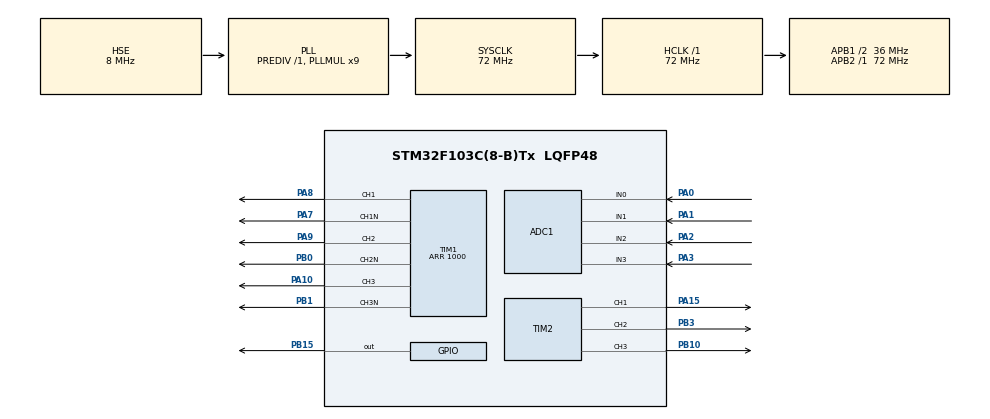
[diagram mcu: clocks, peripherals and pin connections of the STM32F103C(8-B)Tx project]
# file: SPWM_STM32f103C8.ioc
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Mcu.Family=STM32F1
TIM2.Channel-Output\ Compare1\ CH1=TIM_CHANNEL_1
ADC1.ContinuousConvMode=ENABLE
TIM1.Pulse-PWM\ Generation1\ CH1\ CH1N=500
SH.ADCx_IN2.0=ADC1_IN2,IN2
PB15.Signal=GPIO_Output
RCC.SYSCLKSource=RCC_SYSCLKSOURCE_PLLCLK
ProjectManager.StackSize=0x400
PD1-OSC_OUT.Signal=RCC_OSC_OUT
ADC1.Channel-3\#ChannelRegularConversion=ADC_CHANNEL_3
RCC.HCLKFreq_Value=72000000
SH.ADCx_IN3.0=ADC1_IN3,IN3
RCC.APB2TimFreq_Value=72000000
TIM3.Period=360
Dma.ADC1.0.Direction=DMA_PERIPH_TO_MEMORY
ADC1.Channel-2\#ChannelRegularConversion=ADC_CHANNEL_2
TIM1.AutomaticOutput=TIM_AUTOMATICOUTPUT_ENABLE
Dma.ADC1.0.MemDataAlignment=DMA_MDATAALIGN_HALFWORD
RCC.AHBFreq_Value=72000000
ADC1.Channel-0\#ChannelRegularConversion=ADC_CHANNEL_0
RCC.PLLMUL=RCC_PLL_MUL9
ADC1.Rank-2\#ChannelRegularConversion=3
PA14.Mode=Serial_Wire
Dma.ADC1.0.PeriphInc=DMA_PINC_DISABLE
TIM1.DeadTime=200
PA8.Signal=S_TIM1_CH1
SH.ADCx_IN0.0=ADC1_IN0,IN0
VP_TIM1_VS_ClockSourceINT.Mode=Internal
ADC1.SamplingTime-0\#ChannelRegularConversion=ADC_SAMPLETIME_28CYCLES_5
Mcu.Package=LQFP48
TIM2.Channel-Output\ Compare2\ CH2=TIM_CHANNEL_2
PB1.Signal=TIM1_CH3N
PA10.Signal=S_TIM1_CH3
PA15.Signal=S_TIM2_CH1_ETR
SH.ADCx_IN1.0=ADC1_IN1,IN1
RCC.APB1TimFreq_Value=72000000
TIM1.Period=1000
Dma.Request0=ADC1
VP_TIM3_VS_ClockSourceINT.Mode=Internal
PA3.Signal=ADCx_IN3
RCC.PLLSourceVirtual=RCC_PLLSOURCE_HSE
Dma.ADC1.0.Instance=DMA1_Channel1
ADC1.Rank-0\#ChannelRegularConversion=1
TIM1.OffStateIDLEMode=TIM_OSSI_ENABLE
PA7.Mode=PWM Generation1 CH1 CH1N
PD1-OSC_OUT.Mode=HSE-External-Oscillator
TIM3.AutoReloadPreload=TIM_AUTORELOAD_PRELOAD_ENABLE
TIM1.CounterMode=TIM_COUNTERMODE_CENTERALIGNED1
ADC1.DiscontinuousConvMode=DISABLE
TIM2.Channel-Output\ Compare3\ CH3=TIM_CHANNEL_3
TIM1.Channel-PWM\ Generation1\ CH1\ CH1N=TIM_CHANNEL_1
PD0-OSC_IN.Signal=RCC_OSC_IN
RCC.APB1CLKDivider=RCC_HCLK_DIV2
ADC1.SamplingTime-2\#ChannelRegularConversion=ADC_SAMPLETIME_28CYCLES_5
PA0-WKUP.Signal=ADCx_IN0
RCC.ADCPresc=RCC_ADCPCLK2_DIV6
PA13.Signal=SYS_JTMS-SWDIO
TIM1.AutoReloadPreload=TIM_AUTORELOAD_PRELOAD_ENABLE
TIM1.Channel-PWM\ Generation2\ CH2\ CH2N=TIM_CHANNEL_2
SH.S_TIM2_CH2.0=TIM2_CH2,Output Compare2 CH2
Dma.ADC1.0.PeriphDataAlignment=DMA_PDATAALIGN_HALFWORD
SH.S_TIM1_CH1.0=TIM1_CH1,PWM Generation1 CH1 CH1N
ProjectManager.TargetToolchain=MDK-ARM V5.27
Dma.ADC1.0.Mode=DMA_CIRCULAR
Dma.ADC1.0.Priority=DMA_PRIORITY_LOW
PA9.Signal=S_TIM1_CH2
ADC1.Channel-1\#ChannelRegularConversion=ADC_CHANNEL_1
TIM1.Channel-PWM\ Generation3\ CH3\ CH3N=TIM_CHANNEL_3
RCC.USBFreq_Value=72000000
PA1.Signal=ADCx_IN1
PD0-OSC_IN.Mode=HSE-External-Oscillator
PB10.Signal=S_TIM2_CH3
PB0.Mode=PWM Generation2 CH2 CH2N
board=custom
NVIC.TIM3_IRQn=true\:0\:0\:false\:false\:true\:true\:true
RCC.APB2Freq_Value=72000000
SH.S_TIM1_CH2.0=TIM1_CH2,PWM Generation2 CH2 CH2N
VP_TIM2_VS_ClockSourceINT.Mode=Internal
SH.S_TIM2_CH3.0=TIM2_CH3,Output Compare3 CH3
TIM1.OffStateRunMode=TIM_OSSR_ENABLE
ADC1.NbrOfConversion=4
PA13.Mode=Serial_Wire
Mcu.Name=STM32F103C(8-B)Tx
PA2.Signal=ADCx_IN2
PB3.Signal=S_TIM2_CH2
ADC1.SamplingTime-1\#ChannelRegularConversion=ADC_SAMPLETIME_28CYCLES_5
RCC.SYSCLKFreq_VALUE=72000000
ADC1.master=1
ADC1.Rank-3\#ChannelRegularConversion=4
ADC1.SamplingTime-3\#ChannelRegularConversion=ADC_SAMPLETIME_28CYCLES_5
ADC1.Rank-1\#ChannelRegularConversion=2
SH.S_TIM2_CH1_ETR.0=TIM2_CH1,Output Compare1 CH1
PA14.Signal=SYS_JTCK-SWCLK
Dma.ADC1.0.MemInc=DMA_MINC_ENABLE
ProjectManager.HeapSize=0x200
PB1.Mode=PWM Generation3 CH3 CH3N
SH.S_TIM1_CH3.0=TIM1_CH3,PWM Generation3 CH3 CH3N
NVIC.PriorityGroup=NVIC_PRIORITYGROUP_4
ADC1.NbrOfConversionFlag=1
NVIC.DMA1_Channel1_IRQn=true\:0\:0\:false\:false\:true\:false\:true
RCC.APB1Freq_Value=36000000
PB0.Signal=TIM1_CH2N
PA7.Signal=TIM1_CH1N

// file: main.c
/* USER CODE BEGIN Header */
/**
  ******************************************************************************
  * @file           : main.c
  * @brief          : Main program body
  ******************************************************************************
  * @attention
  *
  * <h2><center>&copy; Copyright (c) 2021 STMicroelectronics.
  * All rights reserved.</center></h2>
  *
  * This software component is licensed by ST under BSD 3-Clause license,
  * the "License"; You may not use this file except in compliance with the
  * License. You may obtain a copy of the License at:
  *                        opensource.org/licenses/BSD-3-Clause
  *
  ******************************************************************************
  */
/* USER CODE END Header */

#include "main.h"

/* USER CODE BEGIN Includes */
#include <math.h>

/* USER CODE END Includes */

/* USER CODE BEGIN PD */
#define PI 3.14159265

/* USER CODE END PD */

/* USER CODE BEGIN PM */
float map(float x, float in_min, float in_max, float out_min, float out_max)
{
	return (x - in_min) * (out_max - out_min) / (in_max - in_min) + out_min;
}

/* USER CODE END PM */

ADC_HandleTypeDef hadc1;
DMA_HandleTypeDef hdma_adc1;

TIM_HandleTypeDef htim1;
TIM_HandleTypeDef htim2;
TIM_HandleTypeDef htim3;

/* USER CODE BEGIN PV */
uint16_t lookUp1[] = {1800, 1939, 2078, 2215, 2349, 2480, 2607, 2730, 2846, 2957, 3060, 3156, 3243, 3322, 3392, 3452, 3503, 3543, 3572, 3591, 3599, 3596, 3583, 3559, 3524, 3479, 3423, 3358, 3284, 3201, 3109, 3009, 2902, 2789, 2669, 2544, 2415, 2282, 2146, 2008, 1869, 1730, 1591, 1453, 1317, 1184, 1055, 930, 810, 697, 590, 490, 398, 315, 241, 176, 120, 75, 40, 16, 3, 0, 8, 27, 56, 96, 147, 207, 277, 356, 443, 539, 642, 753, 869, 992, 1119, 1250, 1384, 1521, 1660};

float freq;
float amplitude;

uint16_t SINE_counter_A=0;
uint16_t SINE_counter_B=27;
uint16_t SINE_counter_C=54;

uint16_t ADC_VALs[4];
double result;

uint16_t period = 0;

/* USER CODE END PV */

void SystemClock_Config(void);
static void MX_GPIO_Init(void);
static void MX_DMA_Init(void);
static void MX_ADC1_Init(void);
static void MX_TIM1_Init(void);
static void MX_TIM2_Init(void);
static void MX_TIM3_Init(void);

/* USER CODE BEGIN 0 */
/*
void SPWM( void ){

			//freq = 25;
			freq =  map(ADC_VALs[0],1,4048,1,80);
			amplitude = map(freq,1,50,.05,1);
			if (amplitude >= .99) amplitude=.99;

   		period = (uint16_t)((72e6/600)/freq);
			TIM3->ARR = period - 1;

			SINE_counter_A++;
			SINE_counter_B++;
			SINE_counter_C++;

			result = lookUp1[SINE_counter_A];
			__HAL_TIM_SET_COMPARE(&htim1, TIM_CHANNEL_1,(uint16_t)result*amplitude);

			result = lookUp1[SINE_counter_B];
			__HAL_TIM_SET_COMPARE(&htim1, TIM_CHANNEL_2,(uint16_t)result*amplitude);

			result = lookUp1[SINE_counter_C];
			__HAL_TIM_SET_COMPARE(&htim1, TIM_CHANNEL_3,(uint16_t)result*amplitude);

			if (SINE_counter_A >= 600) { SINE_counter_A=0; }
			if (SINE_counter_B >= 600) { SINE_counter_B=0; }
			if (SINE_counter_C >= 600) { SINE_counter_C=0; }
}
*/
/* USER CODE END 0 */

int main(void)
{

  /* MCU Configuration--------------------------------------------------------*/

  /* Reset of all peripherals, Initializes the Flash interface and the Systick. */
  HAL_Init();

  /* Configure the system clock */
  SystemClock_Config();

  /* Initialize all configured peripherals */
  MX_GPIO_Init();
  MX_DMA_Init();
  MX_ADC1_Init();
  MX_TIM1_Init();
  MX_TIM2_Init();
  MX_TIM3_Init();
  /* USER CODE BEGIN 2 */
	// Analog DMA settings
	HAL_ADC_Start_DMA(&hadc1,( uint32_t *)ADC_VALs,4);

	// PWM settings
	HAL_TIM_PWM_Start(&htim1, TIM_CHANNEL_1);
	HAL_TIM_PWM_Start(&htim1, TIM_CHANNEL_2);
	HAL_TIM_PWM_Start(&htim1, TIM_CHANNEL_3);
	HAL_TIMEx_PWMN_Start(&htim1, TIM_CHANNEL_1); // turn on complementary channel
	HAL_TIMEx_PWMN_Start(&htim1, TIM_CHANNEL_2); // turn on complementary channel
	HAL_TIMEx_PWMN_Start(&htim1, TIM_CHANNEL_3); // turn on complementary channel

	__HAL_TIM_SET_COMPARE(&htim1, TIM_CHANNEL_1,(uint16_t)0);
	__HAL_TIM_SET_COMPARE(&htim1, TIM_CHANNEL_2,(uint16_t)0);
	__HAL_TIM_SET_COMPARE(&htim1, TIM_CHANNEL_3,(uint16_t)0);

  HAL_TIM_Base_Start_IT(&htim3);

  /* USER CODE END 2 */

  /* Infinite loop */
  while (1)
  {

    /* USER CODE BEGIN 3 */
			//amplitude = map(freq,1,50,.05,1);
			//if (amplitude >= .99) amplitude=.99;

				if (freq <= 50 ) { amplitude = map(freq,1,50,.05,1); }
				else{ amplitude = 1; }

  }
  /* USER CODE END 3 */
}

void SystemClock_Config(void)
{
  RCC_OscInitTypeDef RCC_OscInitStruct = {0};
  RCC_ClkInitTypeDef RCC_ClkInitStruct = {0};
  RCC_PeriphCLKInitTypeDef PeriphClkInit = {0};

  /** Initializes the CPU, AHB and APB busses clocks
  */
  RCC_OscInitStruct.OscillatorType = RCC_OSCILLATORTYPE_HSE;
  RCC_OscInitStruct.HSEState = RCC_HSE_ON;
  RCC_OscInitStruct.HSEPredivValue = RCC_HSE_PREDIV_DIV1;
  RCC_OscInitStruct.HSIState = RCC_HSI_ON;
  RCC_OscInitStruct.PLL.PLLState = RCC_PLL_ON;
  RCC_OscInitStruct.PLL.PLLSource = RCC_PLLSOURCE_HSE;
  RCC_OscInitStruct.PLL.PLLMUL = RCC_PLL_MUL9;
  if (HAL_RCC_OscConfig(&RCC_OscInitStruct) != HAL_OK)
  {
    Error_Handler();
  }
  /** Initializes the CPU, AHB and APB busses clocks
  */
  RCC_ClkInitStruct.ClockType = RCC_CLOCKTYPE_HCLK|RCC_CLOCKTYPE_SYSCLK
                              |RCC_CLOCKTYPE_PCLK1|RCC_CLOCKTYPE_PCLK2;
  RCC_ClkInitStruct.SYSCLKSource = RCC_SYSCLKSOURCE_PLLCLK;
  RCC_ClkInitStruct.AHBCLKDivider = RCC_SYSCLK_DIV1;
  RCC_ClkInitStruct.APB1CLKDivider = RCC_HCLK_DIV2;
  RCC_ClkInitStruct.APB2CLKDivider = RCC_HCLK_DIV1;

  if (HAL_RCC_ClockConfig(&RCC_ClkInitStruct, FLASH_LATENCY_2) != HAL_OK)
  {
    Error_Handler();
  }
  PeriphClkInit.PeriphClockSelection = RCC_PERIPHCLK_ADC;
  PeriphClkInit.AdcClockSelection = RCC_ADCPCLK2_DIV6;
  if (HAL_RCCEx_PeriphCLKConfig(&PeriphClkInit) != HAL_OK)
  {
    Error_Handler();
  }
}

static void MX_ADC1_Init(void)
{

  ADC_ChannelConfTypeDef sConfig = {0};

  /** Common config
  */
  hadc1.Instance = ADC1;
  hadc1.Init.ScanConvMode = ADC_SCAN_ENABLE;
  hadc1.Init.ContinuousConvMode = ENABLE;
  hadc1.Init.DiscontinuousConvMode = DISABLE;
  hadc1.Init.ExternalTrigConv = ADC_SOFTWARE_START;
  hadc1.Init.DataAlign = ADC_DATAALIGN_RIGHT;
  hadc1.Init.NbrOfConversion = 4;
  if (HAL_ADC_Init(&hadc1) != HAL_OK)
  {
    Error_Handler();
  }
  /** Configure Regular Channel
  */
  sConfig.Channel = ADC_CHANNEL_0;
  sConfig.Rank = ADC_REGULAR_RANK_1;
  sConfig.SamplingTime = ADC_SAMPLETIME_28CYCLES_5;
  if (HAL_ADC_ConfigChannel(&hadc1, &sConfig) != HAL_OK)
  {
    Error_Handler();
  }
  /** Configure Regular Channel
  */
  sConfig.Channel = ADC_CHANNEL_1;
  sConfig.Rank = ADC_REGULAR_RANK_2;
  if (HAL_ADC_ConfigChannel(&hadc1, &sConfig) != HAL_OK)
  {
    Error_Handler();
  }
  /** Configure Regular Channel
  */
  sConfig.Channel = ADC_CHANNEL_2;
  sConfig.Rank = ADC_REGULAR_RANK_3;
  if (HAL_ADC_ConfigChannel(&hadc1, &sConfig) != HAL_OK)
  {
    Error_Handler();
  }
  /** Configure Regular Channel
  */
  sConfig.Channel = ADC_CHANNEL_3;
  sConfig.Rank = ADC_REGULAR_RANK_4;
  if (HAL_ADC_ConfigChannel(&hadc1, &sConfig) != HAL_OK)
  {
    Error_Handler();
  }

}

static void MX_TIM1_Init(void)
{

  TIM_ClockConfigTypeDef sClockSourceConfig = {0};
  TIM_MasterConfigTypeDef sMasterConfig = {0};
  TIM_OC_InitTypeDef sConfigOC = {0};
  TIM_BreakDeadTimeConfigTypeDef sBreakDeadTimeConfig = {0};

  htim1.Instance = TIM1;
  htim1.Init.Prescaler = 0;
  htim1.Init.CounterMode = TIM_COUNTERMODE_CENTERALIGNED1;
  htim1.Init.Period = 3600;
  htim1.Init.ClockDivision = TIM_CLOCKDIVISION_DIV1;
  htim1.Init.RepetitionCounter = 0;
  htim1.Init.AutoReloadPreload = TIM_AUTORELOAD_PRELOAD_ENABLE;
  if (HAL_TIM_Base_Init(&htim1) != HAL_OK)
  {
    Error_Handler();
  }
  sClockSourceConfig.ClockSource = TIM_CLOCKSOURCE_INTERNAL;
  if (HAL_TIM_ConfigClockSource(&htim1, &sClockSourceConfig) != HAL_OK)
  {
    Error_Handler();
  }
  if (HAL_TIM_PWM_Init(&htim1) != HAL_OK)
  {
    Error_Handler();
  }
  sMasterConfig.MasterOutputTrigger = TIM_TRGO_RESET;
  sMasterConfig.MasterSlaveMode = TIM_MASTERSLAVEMODE_DISABLE;
  if (HAL_TIMEx_MasterConfigSynchronization(&htim1, &sMasterConfig) != HAL_OK)
  {
    Error_Handler();
  }
  sConfigOC.OCMode = TIM_OCMODE_PWM1;
  sConfigOC.Pulse = 500;
  sConfigOC.OCPolarity = TIM_OCPOLARITY_HIGH;
  sConfigOC.OCNPolarity = TIM_OCNPOLARITY_HIGH;
  sConfigOC.OCFastMode = TIM_OCFAST_DISABLE;
  sConfigOC.OCIdleState = TIM_OCIDLESTATE_RESET;
  sConfigOC.OCNIdleState = TIM_OCNIDLESTATE_RESET;
  if (HAL_TIM_PWM_ConfigChannel(&htim1, &sConfigOC, TIM_CHANNEL_1) != HAL_OK)
  {
    Error_Handler();
  }
  sConfigOC.Pulse = 0;
  if (HAL_TIM_PWM_ConfigChannel(&htim1, &sConfigOC, TIM_CHANNEL_2) != HAL_OK)
  {
    Error_Handler();
  }
  if (HAL_TIM_PWM_ConfigChannel(&htim1, &sConfigOC, TIM_CHANNEL_3) != HAL_OK)
  {
    Error_Handler();
  }
  sBreakDeadTimeConfig.OffStateRunMode = TIM_OSSR_ENABLE;
  sBreakDeadTimeConfig.OffStateIDLEMode = TIM_OSSI_ENABLE;
  sBreakDeadTimeConfig.LockLevel = TIM_LOCKLEVEL_OFF;
  sBreakDeadTimeConfig.DeadTime = 200;
  sBreakDeadTimeConfig.BreakState = TIM_BREAK_DISABLE;
  sBreakDeadTimeConfig.BreakPolarity = TIM_BREAKPOLARITY_HIGH;
  sBreakDeadTimeConfig.AutomaticOutput = TIM_AUTOMATICOUTPUT_ENABLE;
  if (HAL_TIMEx_ConfigBreakDeadTime(&htim1, &sBreakDeadTimeConfig) != HAL_OK)
  {
    Error_Handler();
  }
  HAL_TIM_MspPostInit(&htim1);

}

static void MX_TIM2_Init(void)
{

  TIM_ClockConfigTypeDef sClockSourceConfig = {0};
  TIM_MasterConfigTypeDef sMasterConfig = {0};
  TIM_OC_InitTypeDef sConfigOC = {0};

  htim2.Instance = TIM2;
  htim2.Init.Prescaler = 0;
  htim2.Init.CounterMode = TIM_COUNTERMODE_UP;
  htim2.Init.Period = 0;
  htim2.Init.ClockDivision = TIM_CLOCKDIVISION_DIV1;
  htim2.Init.AutoReloadPreload = TIM_AUTORELOAD_PRELOAD_DISABLE;
  if (HAL_TIM_Base_Init(&htim2) != HAL_OK)
  {
    Error_Handler();
  }
  sClockSourceConfig.ClockSource = TIM_CLOCKSOURCE_INTERNAL;
  if (HAL_TIM_ConfigClockSource(&htim2, &sClockSourceConfig) != HAL_OK)
  {
    Error_Handler();
  }
  if (HAL_TIM_OC_Init(&htim2) != HAL_OK)
  {
    Error_Handler();
  }
  sMasterConfig.MasterOutputTrigger = TIM_TRGO_RESET;
  sMasterConfig.MasterSlaveMode = TIM_MASTERSLAVEMODE_DISABLE;
  if (HAL_TIMEx_MasterConfigSynchronization(&htim2, &sMasterConfig) != HAL_OK)
  {
    Error_Handler();
  }
  sConfigOC.OCMode = TIM_OCMODE_TIMING;
  sConfigOC.Pulse = 0;
  sConfigOC.OCPolarity = TIM_OCPOLARITY_HIGH;
  sConfigOC.OCFastMode = TIM_OCFAST_DISABLE;
  if (HAL_TIM_OC_ConfigChannel(&htim2, &sConfigOC, TIM_CHANNEL_1) != HAL_OK)
  {
    Error_Handler();
  }
  if (HAL_TIM_OC_ConfigChannel(&htim2, &sConfigOC, TIM_CHANNEL_2) != HAL_OK)
  {
    Error_Handler();
  }
  if (HAL_TIM_OC_ConfigChannel(&htim2, &sConfigOC, TIM_CHANNEL_3) != HAL_OK)
  {
    Error_Handler();
  }
  HAL_TIM_MspPostInit(&htim2);

}

static void MX_TIM3_Init(void)
{

  TIM_ClockConfigTypeDef sClockSourceConfig = {0};
  TIM_MasterConfigTypeDef sMasterConfig = {0};

  htim3.Instance = TIM3;
  htim3.Init.Prescaler = 0;
  htim3.Init.CounterMode = TIM_COUNTERMODE_UP;
  htim3.Init.Period = 5000;
  htim3.Init.ClockDivision = TIM_CLOCKDIVISION_DIV1;
  htim3.Init.AutoReloadPreload = TIM_AUTORELOAD_PRELOAD_ENABLE;
  if (HAL_TIM_Base_Init(&htim3) != HAL_OK)
  {
    Error_Handler();
  }
  sClockSourceConfig.ClockSource = TIM_CLOCKSOURCE_INTERNAL;
  if (HAL_TIM_ConfigClockSource(&htim3, &sClockSourceConfig) != HAL_OK)
  {
    Error_Handler();
  }
  sMasterConfig.MasterOutputTrigger = TIM_TRGO_RESET;
  sMasterConfig.MasterSlaveMode = TIM_MASTERSLAVEMODE_DISABLE;
  if (HAL_TIMEx_MasterConfigSynchronization(&htim3, &sMasterConfig) != HAL_OK)
  {
    Error_Handler();
  }

}

static void MX_DMA_Init(void)
{

  /* DMA controller clock enable */
  __HAL_RCC_DMA1_CLK_ENABLE();

  /* DMA interrupt init */
  /* DMA1_Channel1_IRQn interrupt configuration */
  HAL_NVIC_SetPriority(DMA1_Channel1_IRQn, 0, 0);
  HAL_NVIC_EnableIRQ(DMA1_Channel1_IRQn);

}

static void MX_GPIO_Init(void)
{
  GPIO_InitTypeDef GPIO_InitStruct = {0};

  /* GPIO Ports Clock Enable */
  __HAL_RCC_GPIOD_CLK_ENABLE();
  __HAL_RCC_GPIOA_CLK_ENABLE();
  __HAL_RCC_GPIOB_CLK_ENABLE();

  /*Configure GPIO pin Output Level */
  HAL_GPIO_WritePin(GPIOB, GPIO_PIN_15, GPIO_PIN_RESET);

  /*Configure GPIO pin : PB15 */
  GPIO_InitStruct.Pin = GPIO_PIN_15;
  GPIO_InitStruct.Mode = GPIO_MODE_OUTPUT_PP;
  GPIO_InitStruct.Pull = GPIO_NOPULL;
  GPIO_InitStruct.Speed = GPIO_SPEED_FREQ_LOW;
  HAL_GPIO_Init(GPIOB, &GPIO_InitStruct);

}

/* USER CODE BEGIN 4 */

void HAL_TIM_PeriodElapsedCallback(TIM_HandleTypeDef* htim){

	if (htim->Instance == TIM3) {

			freq =  map(ADC_VALs[0],8,4048,1,120);

		  period = (uint16_t)((888.88e3)/freq);
			TIM3->ARR = period ;

			SINE_counter_A++;
			SINE_counter_B++;
			SINE_counter_C++;

		  __HAL_TIM_SET_COMPARE(&htim1, TIM_CHANNEL_1,(uint16_t)(amplitude*lookUp1[SINE_counter_A]));

			result = amplitude*lookUp1[SINE_counter_B];
			__HAL_TIM_SET_COMPARE(&htim1, TIM_CHANNEL_2,(uint16_t)result);

			result = amplitude*lookUp1[SINE_counter_C];
			__HAL_TIM_SET_COMPARE(&htim1, TIM_CHANNEL_3,(uint16_t)result);

			if (SINE_counter_A == 81) { SINE_counter_A=0; }
			if (SINE_counter_B == 81) { SINE_counter_B=0; }
			if (SINE_counter_C == 81) { SINE_counter_C=0; }

	}
}

/* USER CODE END 4 */

void Error_Handler(void)
{
}

/************************ (C) COPYRIGHT STMicroelectronics *****END OF FILE****/
